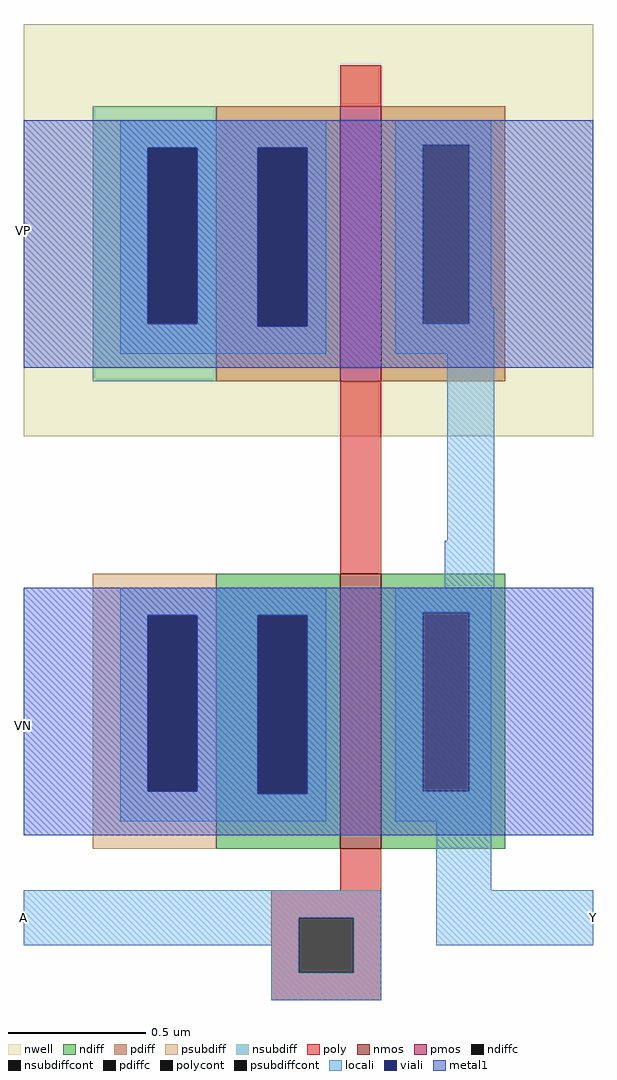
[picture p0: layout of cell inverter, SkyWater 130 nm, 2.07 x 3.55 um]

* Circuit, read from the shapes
.subckt inverter A Y VP VN
XM1 Y A VN VN sky130_fd_pr__nfet_01v8 w=1 l=0.15
XM2 Y A VP VP sky130_fd_pr__pfet_01v8 w=1 l=0.15
.ends

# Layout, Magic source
magic
tech sky130A
<< nwell >>
rect -115 150 92 300
<< nmos >>
rect 0 0 15 100
<< pmos >>
rect 0 170 15 270
<< ndiff >>
rect -45 85 0 100
rect -45 20 -30 85
rect -12 20 0 85
rect -45 0 0 20
rect 15 86 60 100
rect 15 21 30 86
rect 47 21 60 86
rect 15 0 60 21
<< pdiff >>
rect -45 255 0 270
rect -45 190 -30 255
rect -12 190 0 255
rect -45 170 0 190
rect 15 256 60 270
rect 15 191 30 256
rect 47 191 60 256
rect 15 170 60 191
<< ndiffc >>
rect -30 20 -12 85
rect 30 21 47 86
<< pdiffc >>
rect -30 190 -12 255
rect 30 191 47 256
<< psubdiff >>
rect -90 85 -45 100
rect -90 21 -70 85
rect -52 21 -45 85
rect -90 0 -45 21
<< nsubdiff >>
rect -90 255 -45 270
rect -90 191 -70 255
rect -52 191 -45 255
rect -90 170 -45 191
<< psubdiffcont >>
rect -70 21 -52 85
<< nsubdiffcont >>
rect -70 191 -52 255
<< poly >>
rect 0 270 15 285
rect 0 100 15 170
rect 0 -15 15 0
rect -25 -25 15 -15
rect -25 -45 -15 -25
rect 5 -45 15 -25
rect -25 -55 15 -45
<< polycont >>
rect -15 -45 5 -25
<< locali >>
rect -80 255 -5 265
rect -80 191 -70 255
rect -52 191 -30 255
rect -80 190 -30 191
rect -12 190 -5 255
rect -80 180 -5 190
rect 20 256 55 265
rect 20 191 30 256
rect 47 197 55 256
rect 47 191 56 197
rect 20 180 56 191
rect 39 112 56 180
rect 38 95 56 112
rect -80 85 -5 95
rect -80 21 -70 85
rect -52 21 -30 85
rect -80 20 -30 21
rect -12 20 -5 85
rect -80 10 -5 20
rect 20 86 55 95
rect 20 21 30 86
rect 47 21 55 86
rect 20 10 55 21
rect 35 -15 55 10
rect -115 -25 15 -15
rect -115 -35 -15 -25
rect -25 -45 -15 -35
rect 5 -45 15 -25
rect 35 -35 92 -15
rect -25 -55 15 -45
<< viali >>
rect -70 191 -52 255
rect -30 190 -12 255
rect -70 21 -52 85
rect -30 20 -12 85
<< metal1 >>
rect -115 255 92 265
rect -115 191 -70 255
rect -52 191 -30 255
rect -115 190 -30 191
rect -12 190 92 255
rect -115 175 92 190
rect -115 85 92 95
rect -115 21 -70 85
rect -52 21 -30 85
rect -115 20 -30 21
rect -12 20 92 85
rect -115 5 92 20
<< labels >>
rlabel locali -115 -25 -115 -25 7 A
port 1 w
rlabel metal1 -115 225 -115 225 7 VP
port 3 w
rlabel metal1 -115 45 -115 45 7 VN
port 4 w
rlabel locali 92 -25 92 -25 3 Y
port 2 e
<< end >>
